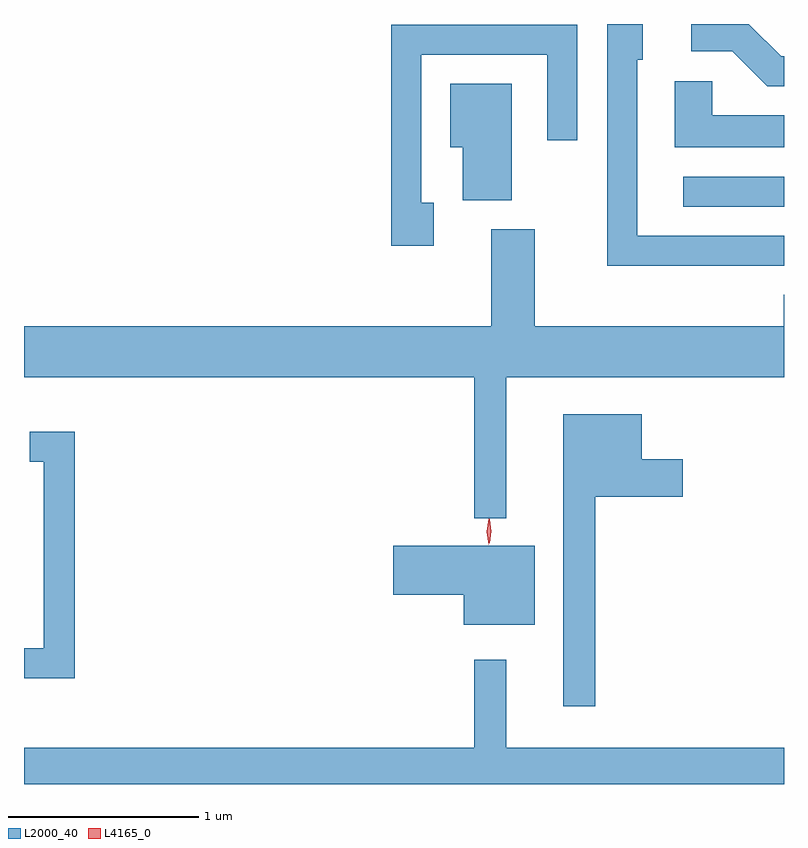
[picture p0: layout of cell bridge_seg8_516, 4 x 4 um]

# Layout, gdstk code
import gdstk
lib = gdstk.Library(unit=1e-6, precision=1e-09)
def R(c, l, rs):  # rectangles x0, y0, x1, y1
    for r in rs: c.add(gdstk.rectangle(r[:2], r[2:], *l))
def P(c, l, *ps):  # polygons
    for p in ps: c.add(gdstk.Polygon(p, *l))
L2000_40 = (2000, 40)
L4165_0 = (4165, 0)

bridge_seg8_516 = lib.new_cell('bridge_seg8_516')
R(bridge_seg8_516, L2000_40, [(284.163,1839.531,284.692,1839.689)])
P(bridge_seg8_516, L2000_40, [(284.692,1840.324),(284.677,1840.324),(284.507,1840.494),(284.203,1840.494),(284.203,1840.351),(284.419,1840.351),(284.604,1840.166),(284.692,1840.166)],
  [(284.692,1839.379),(283.919,1839.379),(283.919,1840.306),(283.949,1840.306),(283.949,1840.494),(283.761,1840.494),(283.761,1839.221),(284.692,1839.221)],
  [(282.849,1839.554),(282.784,1839.554),(282.784,1840.331),(283.446,1840.331),(283.446,1839.883),(283.604,1839.883),(283.604,1840.489),(282.626,1840.489),(282.626,1839.326),(282.849,1839.326)],
  [(284.692,1840.014),(284.314,1840.014),(284.314,1840.194),(284.116,1840.194),(284.116,1839.846),(284.692,1839.846)],
  [(283.259,1840.179),(282.936,1840.179),(282.936,1839.846),(283.001,1839.846),(283.001,1839.566),(283.259,1839.566)],
  [(283.229,1838.636),(284.692,1838.636),(284.692,1839.069),(284.691,1839.069),(284.691,1838.904),(283.379,1838.904),(283.379,1839.414),(283.151,1839.414),(283.151,1838.904),(280.692,1838.904),(280.692,1838.636),(283.061,1838.636),(283.061,1837.893),(283.229,1837.893)],
  [(283.699,1838.006),(284.159,1838.006),(284.159,1838.204),(283.944,1838.204),(283.944,1838.439),(283.531,1838.439),(283.531,1836.903),(283.699,1836.903)],
  [(280.959,1838.349),(280.723,1838.349),(280.723,1838.191),(280.796,1838.191),(280.796,1837.209),(280.692,1837.209),(280.692,1837.051),(280.959,1837.051)],
  [(283.379,1837.749),(282.636,1837.749),(282.636,1837.491),(283.006,1837.491),(283.006,1837.331),(283.379,1837.331)],
  [(284.692,1836.684),(283.229,1836.684),(283.229,1837.148),(283.061,1837.148),(283.061,1836.684),(280.692,1836.684),(280.692,1836.494),(284.692,1836.494)])
P(bridge_seg8_516, L4165_0, [(283.137,1837.754),(283.128,1837.822),(283.139,1837.89),(283.139,1837.89),(283.14,1837.89),(283.148,1837.822),(283.138,1837.754),(283.138,1837.754)],
  [(283.142,1837.76),(283.142,1837.76),(283.132,1837.823),(283.142,1837.886),(283.142,1837.887),(283.143,1837.886),(283.152,1837.823),(283.143,1837.76)])

lib.write_gds('bridge_seg8_516.gds')
